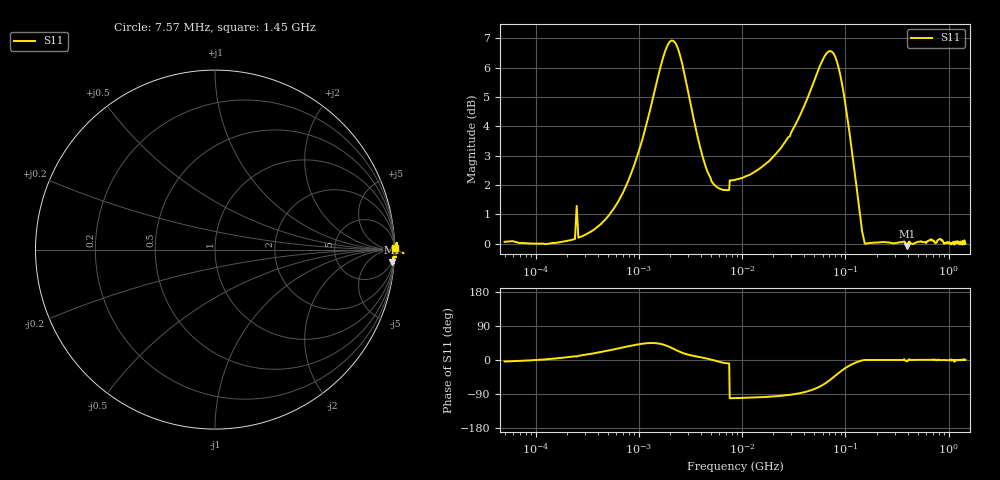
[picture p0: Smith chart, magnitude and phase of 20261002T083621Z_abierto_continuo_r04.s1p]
! piloto_saltos / abierto_continuo / r04
# HZ S RI R 50
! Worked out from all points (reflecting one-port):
!   501 points, 50 kHz to 1.45 GHz, reference 50 ohm
!   lowest |S11| = -0.1 dB at 397 MHz (marker M1), VSWR 216.32, Z = 184 - j1.4e+03 ohm
!   phase of S11 starts at -4 deg and turns +5 deg over the sweep
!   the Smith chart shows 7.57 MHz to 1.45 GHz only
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50000  1.005 -0.0705
183000  1.003 0.1049
363500  1.007 0.3165
658000  1.021 0.6257
1180000  1.147 1.111
1630000  1.488 1.353
1990000  1.829 1.24
2440000  1.961 0.8201
2890000  1.805 0.4907
3430000  1.588 0.2933
4870000  1.298 0.0434
7300000  1.22 -0.1936
7750000  -0.241 -1.26
8560000  -0.2349 -1.264
1.81e7  -0.1671 -1.371
3.16e7  -0.012 -1.577
4.69e7  0.3386 -1.812
6.4e7  1.006 -1.842
7.3e7  1.366 -1.627
8.65e7  1.651 -1.1
9.82e7  1.628 -0.6734
1e8  1.609 -0.6211
1.18e8  1.376 -0.2449
1.36e8  1.148 -0.0679
1.63e8  1.002 -9.7e-05
3.97e8  0.9883 -0.0696
4.06e8  1.004 0.00264
1.45e9  1.001 0.00941
